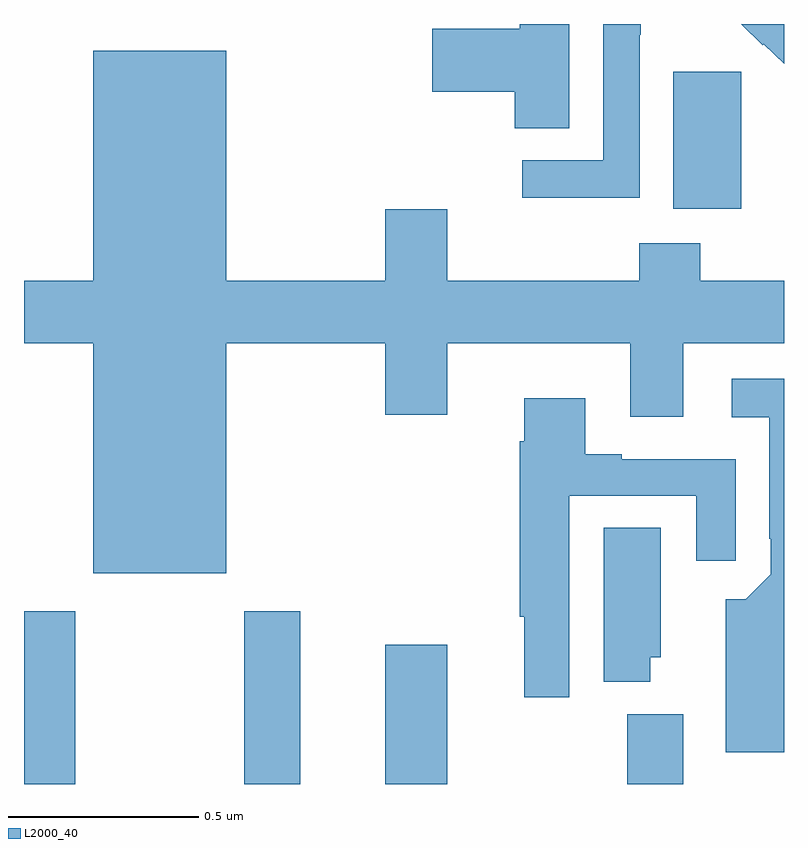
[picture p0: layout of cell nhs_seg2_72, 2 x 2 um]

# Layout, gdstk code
import gdstk
lib = gdstk.Library(unit=1e-6, precision=1e-09)
def R(c, l, rs):  # rectangles x0, y0, x1, y1
    for r in rs: c.add(gdstk.rectangle(r[:2], r[2:], *l))
def P(c, l, *ps):  # polygons
    for p in ps: c.add(gdstk.Polygon(p, *l))
L2000_40 = (2000, 40)

nhs_seg2_72 = lib.new_cell('nhs_seg2_72')
R(nhs_seg2_72, L2000_40, [(111,655.8,111.135,656.254), (111.58,655.8,111.727,656.254), (111.95,655.8,112.114,656.167), (112.588,655.8,112.735,655.984), (112.709,657.314,112.888,657.675)])
P(nhs_seg2_72, L2000_40, [(113,657.8),(112.888,657.8),(112.944,657.744),(112.947,657.747),(113,657.695)],
  [(112.62,657.772),(112.623,657.772),(112.623,657.8),(112.524,657.8),(112.524,657.441),(112.311,657.441),(112.311,657.343),(112.62,657.343)],
  [(112.435,657.8),(112.304,657.8),(112.304,657.787),(112.074,657.787),(112.074,657.622),(112.292,657.622),(112.292,657.526),(112.435,657.526)],
  [(111.532,656.96),(111.95,656.96),(111.95,656.772),(112.114,656.772),(112.114,656.96),(112.595,656.96),(112.595,656.766),(112.735,656.766),(112.735,656.96),(113,656.96),(113,657.124),(112.779,657.124),(112.779,657.223),(112.619,657.223),(112.619,657.124),(112.114,657.124),(112.114,657.313),(111.95,657.313),(111.95,657.124),(111.532,657.124),(111.532,657.73),(111.182,657.73),(111.182,657.124),(111,657.124),(111,656.96),(111.182,656.96),(111.182,656.354),(111.532,656.354)],
  [(113,656.866),(112.863,656.866),(112.863,656.765),(112.961,656.765),(112.961,656.446),(112.965,656.446),(112.965,656.352),(112.899,656.286),(112.847,656.286),(112.847,655.883),(113,655.883)],
  [(112.435,656.559),(112.769,656.559),(112.769,656.388),(112.873,656.388),(112.873,656.655),(112.573,656.655),(112.573,656.668),(112.477,656.668),(112.477,656.815),(112.316,656.815),(112.316,656.702),(112.304,656.702),(112.304,656.24),(112.316,656.24),(112.316,656.028),(112.435,656.028)],
  [(112.648,656.133),(112.675,656.133),(112.675,656.474),(112.526,656.474),(112.526,656.069),(112.648,656.069)])

lib.write_gds('nhs_seg2_72.gds')
